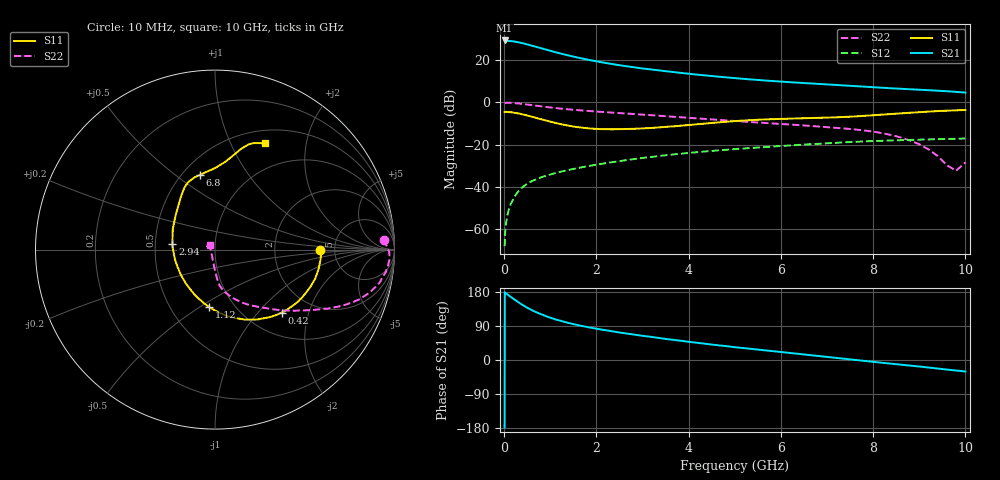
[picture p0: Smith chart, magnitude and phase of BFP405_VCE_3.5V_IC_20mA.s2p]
! Infineon Technologies  Discrete & RF Semiconductors
! BFP405
! VCE =  3.5 V,  IC =  20 mA
! Common Emitter S-Parameters:  Jan 2016
# GHz  S  MA  R  50
!  f  S11  S21  S12  S22
! GHz  MAG  ANG  MAG  ANG  MAG  ANG  MAG  ANG
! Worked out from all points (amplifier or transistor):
!   233 points, 10 MHz to 10 GHz, reference 50 ohm
!   highest |S21| = 29.1 dB at 10 MHz (marker M1)
!   |S21| within 3 dB of that: start of sweep to 689.2 MHz
!   unconditionally stable (mu >= 1): start of sweep to 25.08 MHz; 1.927 GHz to end of sweep
!   at 200 MHz: K = 0.25, MSG = 37.2 dB, |S12| = -45.7 dB
!   at 1.74 GHz: K = 0.95, MSG = 25.4 dB, |S12| = -30.5 dB
!   at 10 GHz: K = 1.35, MAG = 7.3 dB, |S12| = -17.2 dB
!   S11 on the Smith chart (normalised r, x): 10 MHz: 3.83, -0.02; 420 MHz: 1.42, -1.35; 1.12 GHz: 0.77, -0.55; 2.94 GHz: 0.62, +0.04; 6.8 GHz: 0.61, +0.62; 10 GHz: 0.65, +1.36
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0.01  0.5859 -0.2  28.61 -178.7  0.0004 167.0  0.9426 3.3
0.02  0.5928 -1.3  28.41 176.9  0.0008 93.1  0.9584 0.9
0.05  0.591 -4.9  28 175.1  0.0016 87.4  0.9712 -0.8
0.1  0.5873 -10.7  27.96 170.2  0.0029 81.7  0.9736 -3.3
0.2  0.5704 -21.5  27.17 161.5  0.0052 80.3  0.96 -7.5
0.3  0.5463 -32.0  26.07 153.1  0.0077 77.3  0.9382 -11.0
0.42  0.5111 -43.4  24.35 143.6  0.0103 73.6  0.902 -14.7
0.5  0.4865 -50.5  23.17 138.0  0.0119 71.7  0.8782 -16.8
0.6  0.4545 -59.0  21.57 131.4  0.0137 69.6  0.849 -19.1
0.7  0.4248 -66.7  20.11 125.8  0.0153 67.9  0.8202 -21.0
0.9  0.3713 -81.0  17.46 115.7  0.0183 65.9  0.7696 -24.1
1.12  0.3225 -95.5  15.04 106.8  0.0214 64.4  0.7239 -26.7
1.4  0.279 -112.9  12.62 97.5  0.0252 63.3  0.6759 -29.5
1.68  0.2513 -128.8  10.79 89.9  0.029 62.5  0.6375 -31.8
2.22  0.2295 -157.3  8.345 77.9  0.0366 60.6  0.5791 -35.9
2.94  0.2388 172.8  6.376 64.9  0.0474 56.9  0.5144 -41.2
3.4  0.2559 157.1  5.537 57.4  0.0544 53.9  0.4746 -44.8
5.1  0.3643 120.0  3.614 32.6  0.0795 41.2  0.3529 -59.7
6.8  0.4252 101.2  2.697 10.7  0.1043 27.8  0.2675 -72.8
8.4  0.527 79.7  2.126 -9.8  0.125 12.9  0.1672 -85.5
9.8  0.6427 67.4  1.748 -27.7  0.1371 1.1  0.0241 -176.0
10  0.6549 64.9  1.686 -30.3  0.1386 -0.4  0.0379 141.7
